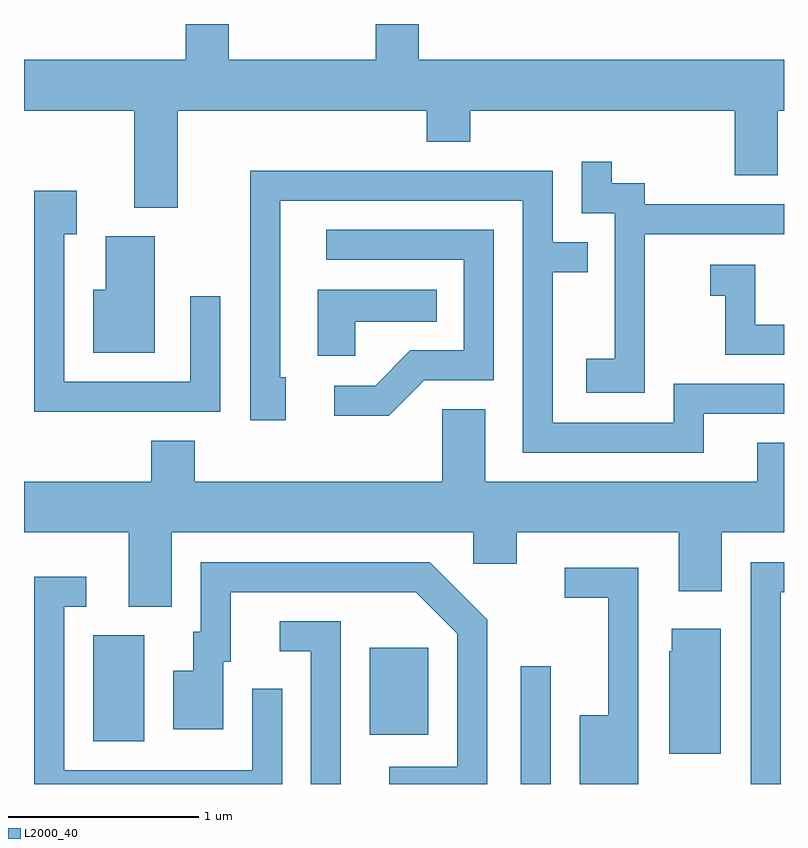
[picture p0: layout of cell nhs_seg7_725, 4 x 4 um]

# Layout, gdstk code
import gdstk
lib = gdstk.Library(unit=1e-6, precision=1e-09)
def R(c, l, rs):  # rectangles x0, y0, x1, y1
    for r in rs: c.add(gdstk.rectangle(r[:2], r[2:], *l))
def P(c, l, *ps):  # polygons
    for p in ps: c.add(gdstk.Polygon(p, *l))
L2000_40 = (2000, 40)

nhs_seg7_725 = lib.new_cell('nhs_seg7_725')
R(nhs_seg7_725, L2000_40, [(208.226,1786.252,208.384,1786.873), (205.976,1786.476,206.244,1787.034), (207.431,1786.511,207.739,1786.969)])
P(nhs_seg7_725, L2000_40, [(206.419,1789.796),(207.731,1789.796),(207.731,1789.631),(207.959,1789.631),(207.959,1789.796),(209.351,1789.796),(209.351,1789.456),(209.579,1789.456),(209.579,1789.796),(209.611,1789.796),(209.611,1790.064),(207.689,1790.064),(207.689,1790.252),(207.461,1790.252),(207.461,1790.064),(206.689,1790.064),(206.689,1790.252),(206.461,1790.252),(206.461,1790.064),(205.611,1790.064),(205.611,1789.796),(206.191,1789.796),(206.191,1789.286),(206.419,1789.286)],
  [(208.879,1789.146),(209.611,1789.146),(209.611,1789.304),(208.879,1789.304),(208.879,1789.414),(208.704,1789.414),(208.704,1789.528),(208.546,1789.528),(208.546,1789.256),(208.721,1789.256),(208.721,1788.489),(208.571,1788.489),(208.571,1788.311),(208.879,1788.311)],
  [(209.189,1788.201),(209.611,1788.201),(209.611,1788.359),(209.031,1788.359),(209.031,1788.154),(208.394,1788.154),(208.394,1788.946),(208.578,1788.946),(208.578,1789.104),(208.394,1789.104),(208.394,1789.479),(206.801,1789.479),(206.801,1788.166),(206.989,1788.166),(206.989,1788.394),(206.959,1788.394),(206.959,1789.321),(208.236,1789.321),(208.236,1787.996),(209.189,1787.996)],
  [(206.644,1788.818),(206.486,1788.818),(206.486,1788.369),(205.824,1788.369),(205.824,1789.146),(205.889,1789.146),(205.889,1789.374),(205.666,1789.374),(205.666,1788.211),(206.644,1788.211)],
  [(207.717,1788.376),(208.084,1788.376),(208.084,1789.169),(207.203,1789.169),(207.203,1789.011),(207.926,1789.011),(207.926,1788.534),(207.644,1788.534),(207.459,1788.349),(207.243,1788.349),(207.243,1788.191),(207.532,1788.191)],
  [(206.299,1789.134),(206.041,1789.134),(206.041,1788.854),(205.976,1788.854),(205.976,1788.521),(206.299,1788.521)],
  [(209.611,1788.669),(209.459,1788.669),(209.459,1788.984),(209.223,1788.984),(209.223,1788.821),(209.301,1788.821),(209.301,1788.511),(209.611,1788.511)],
  [(207.354,1788.686),(207.783,1788.686),(207.783,1788.854),(207.156,1788.854),(207.156,1788.506),(207.354,1788.506)],
  [(206.389,1787.576),(207.976,1787.576),(207.976,1787.411),(208.204,1787.411),(208.204,1787.576),(209.056,1787.576),(209.056,1787.266),(209.284,1787.266),(209.284,1787.576),(209.611,1787.576),(209.611,1788.049),(209.471,1788.049),(209.471,1787.844),(208.039,1787.844),(208.039,1788.224),(207.811,1788.224),(207.811,1787.844),(206.509,1787.844),(206.509,1788.059),(206.281,1788.059),(206.281,1787.844),(205.611,1787.844),(205.611,1787.576),(206.161,1787.576),(206.161,1787.186),(206.389,1787.186)],
  [(208.049,1787.117),(207.747,1787.419),(206.541,1787.419),(206.541,1787.054),(206.501,1787.054),(206.501,1786.849),(206.396,1786.849),(206.396,1786.541),(206.659,1786.541),(206.659,1786.896),(206.699,1786.896),(206.699,1787.261),(207.674,1787.261),(207.891,1787.044),(207.891,1786.344),(207.533,1786.344),(207.533,1786.252),(208.049,1786.252)],
  [(209.594,1787.261),(209.611,1787.261),(209.611,1787.419),(209.436,1787.419),(209.436,1786.252),(209.594,1786.252)],
  [(208.844,1787.389),(208.458,1787.389),(208.458,1787.231),(208.686,1787.231),(208.686,1786.614),(208.536,1786.614),(208.536,1786.252),(208.844,1786.252)],
  [(206.969,1786.753),(206.811,1786.753),(206.811,1786.324),(205.824,1786.324),(205.824,1787.186),(205.938,1787.186),(205.938,1787.344),(205.666,1787.344),(205.666,1786.252),(206.969,1786.252)],
  [(207.279,1787.109),(206.958,1787.109),(206.958,1786.951),(207.121,1786.951),(207.121,1786.252),(207.279,1786.252)],
  [(209.279,1787.069),(209.021,1787.069),(209.021,1786.95),(209.006,1786.95),(209.006,1786.411),(209.279,1786.411)])

lib.write_gds('nhs_seg7_725.gds')
